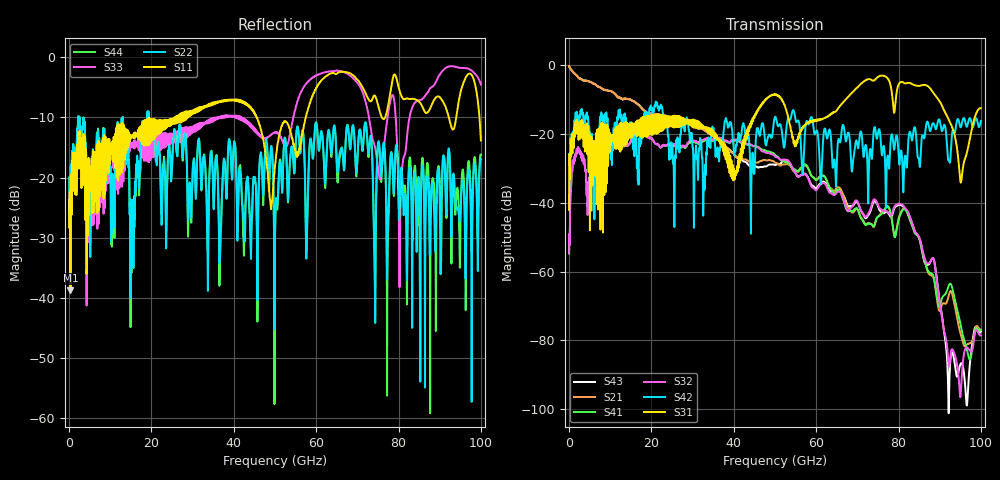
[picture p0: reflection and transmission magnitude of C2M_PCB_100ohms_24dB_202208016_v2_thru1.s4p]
! Info: Touchstone file created by Circ.  Input file=Intel_C2M_200G_9p5in_202208016_staggered.circ
# Hz S RI R 50
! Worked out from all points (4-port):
!   10000 points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, 10 MHz to 100 GHz, reference 50 ohm
!   strongest paths, dB at 10 MHz, 25.01 GHz, 50.01 GHz, 75.01 GHz, 100 GHz:
!     S31: -42.1, -14.9, -8.5, -3.4, -12.6
!     S42: -42.1, -23.4, -15.1, -19.7, -16.3
!     S32: -54.7, -23.0, -26.5, -40.7, -78.6
!     S41: -54.7, -23.2, -26.1, -44.0, -76.9
!     S21: -0.3, -15.5, -28.3, -44.0, -76.9
!     S43: -0.3, -15.5, -29.1, -41.0, -77.4
!   lowest |S11| = -38.8 dB at 330 MHz (marker M1), VSWR 1.02, Z = 49.1 + j0.73 ohm
!   |S11| at or under -10 dB: start of sweep to 25.73 GHz; 45.5 GHz to 57.46 GHz (11.95 GHz wide, 23.2 % of centre); 92.2 GHz to 94.01 GHz (1.804 GHz wide, 1.94 % of centre)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
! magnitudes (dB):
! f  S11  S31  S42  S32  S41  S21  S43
! 10 MHz  -28.2  -42.1  -42.1  -54.7  -54.7  -0.3  -0.3
! 330 MHz  -38.8  -22.5  -21.9  -37.7  -37.7  -1.1  -1.1
! 40.92 GHz  -7.2  -30.9  -22.0  -21.7  -22.1  -26.7  -27.0
! 49.05 GHz  -25.2  -8.8  -21.1  -25.9  -25.4  -27.8  -28.9
! 80.9 GHz  -6.7  -4.9  -27.9  -40.6  -42.3  -42.0  -40.9
! 95.17 GHz  -5.5  -34.1  -18.0  -94.4  -76.0  -78.5  -86.7
! 100 GHz  -13.8  -12.6  -16.3  -78.6  -76.9  -76.9  -77.4
